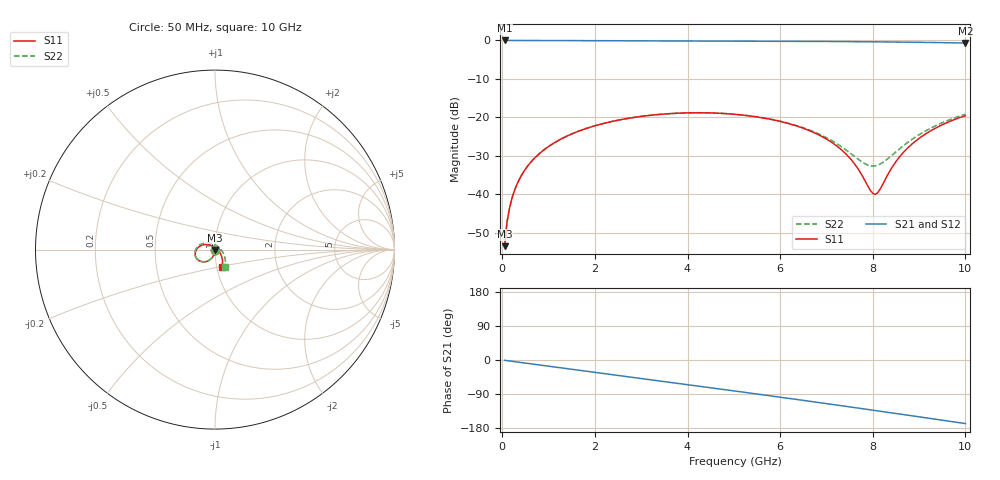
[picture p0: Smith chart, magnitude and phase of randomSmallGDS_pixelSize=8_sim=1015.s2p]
! freq	dB(S11)	phase(S11)	dB(S12)	phase(S12)
!  dB(S21)	phase(S21)	dB(S22)	phase(S22)
!S-par simulation data
#  GHz  S  DB  R 50
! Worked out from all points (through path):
!   200 points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, 50 MHz to 10 GHz, reference 50 ohm
!   highest |S21| = 0.00 dB at 50 MHz (marker M1); lowest = -0.7 dB at 10 GHz (marker M2)
!   group delay of S21, straight-line fit = 46.4 ps
!   lowest |S11| = -53.5 dB at 50 MHz (marker M3), VSWR 1.00, Z = 50 - j0.211 ohm
!   |S11| at or under -10 dB: start of sweep to end of sweep
!   |S22| runs from -53.5 to -18.8 dB; largest |S21 - S12| = 0
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0.05  -53.52 -90.5  -0.00 -0.8  -0.00 -0.8  -53.53 -90.5
0.1  -47.50 -91.7  -0.00 -1.6  -0.00 -1.6  -47.50 -91.8
0.2  -41.45 -93.7  -0.00 -3.3  -0.00 -3.3  -41.46 -93.8
0.35  -36.57 -96.4  -0.01 -5.8  -0.01 -5.8  -36.57 -96.5
0.5  -33.47 -98.9  -0.01 -8.2  -0.01 -8.2  -33.47 -99.1
1  -27.58 -107.1  -0.03 -16.4  -0.03 -16.4  -27.58 -107.5
1.75  -23.16 -119.4  -0.05 -28.5  -0.05 -28.5  -23.17 -120.1
2.5  -20.75 -131.7  -0.08 -40.7  -0.08 -40.7  -20.75 -132.7
3.4  -19.24 -146.4  -0.12 -55.3  -0.12 -55.3  -19.24 -147.9
5.05  -19.25 -174.2  -0.18 -82.3  -0.18 -82.3  -19.24 -177.4
5.95  -20.92 169.6  -0.21 -97.3  -0.21 -97.3  -20.87 164.4
6.7  -23.82 154.4  -0.24 -109.9  -0.24 -109.9  -23.63 145.6
7.1  -26.41 144.4  -0.27 -116.8  -0.27 -116.8  -25.97 131.8
7.45  -29.90 132.4  -0.30 -122.8  -0.30 -122.8  -28.74 113.8
7.65  -32.84 121.2  -0.31 -126.3  -0.31 -126.3  -30.58 98.0
8  -39.79 64.6  -0.35 -132.4  -0.35 -132.4  -32.68 54.1
8.1  -39.69 33.2  -0.36 -134.1  -0.36 -134.1  -32.47 39.4
8.35  -34.36 -14.1  -0.39 -138.5  -0.39 -138.5  -30.52 8.6
8.65  -29.28 -33.8  -0.43 -143.8  -0.43 -143.8  -27.50 -14.6
9  -25.48 -46.0  -0.48 -150.0  -0.48 -150.0  -24.53 -31.1
9.45  -22.23 -57.2  -0.56 -157.9  -0.56 -157.9  -21.68 -45.6
10  -19.57 -68.5  -0.66 -167.7  -0.66 -167.7  -19.20 -59.2
